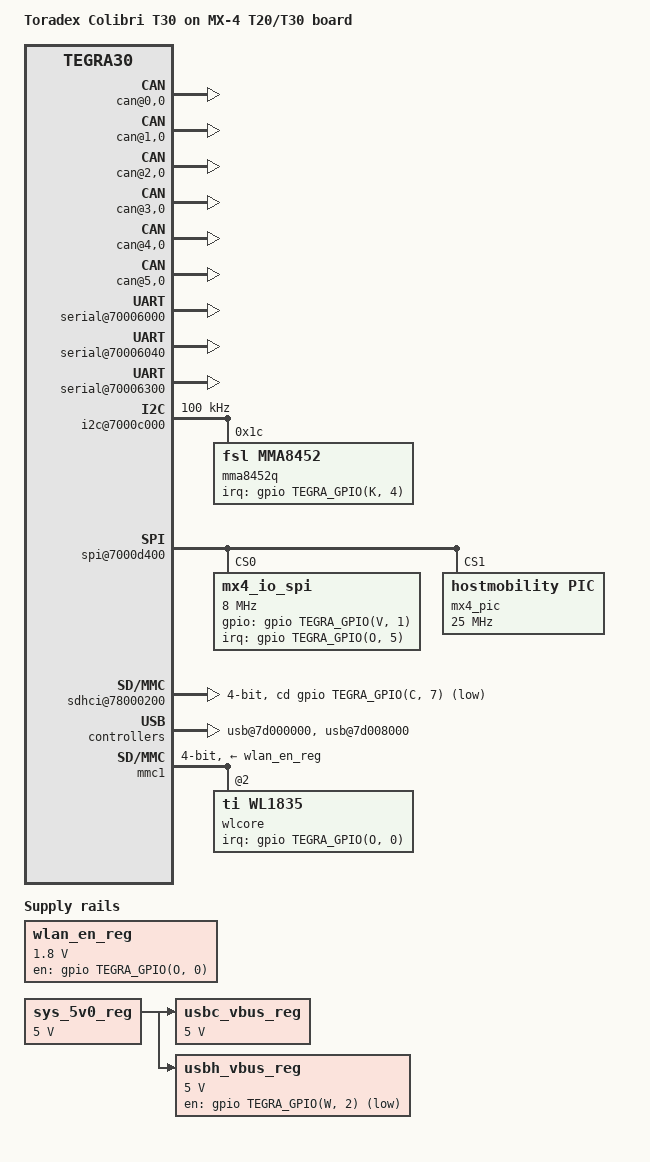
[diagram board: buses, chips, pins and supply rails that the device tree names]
/dts-v1/;

#include "tegra30-colibri.dtsi"

/ {
	model = "Toradex Colibri T30 on MX-4 T20/T30 board";
	compatible = "toradex,colibri_t30-eval-v3", "toradex,colibri_t30", "nvidia,tegra30";

	aliases {
		rtc0 = "/i2c@7000d000/tps65911@2d";
		serial0 = &uarta;
		serial1 = &uartb;
		serial2 = &uartd;
		mmc0 = "/sdhci@78000600"; /* eMMC */
	};

	pinmux@70000868 {
		pinctrl-names = "default";
		pinctrl-0 = <&state_default>;

		state_default: pinmux {
			/* DATA-READY-PIC */
			ulpi_data4_po5 {
				nvidia,pins = "ulpi_data4_po5";
				nvidia,function = "uarta";
				nvidia,pull = <TEGRA_PIN_PULL_DOWN>;
				nvidia,tristate = <TEGRA_PIN_DISABLE>;
				nvidia,enable-input = <TEGRA_PIN_ENABLE>;
			};

			/* ACC-INT1 */
			gmi_cs3_n_pk4 {
				nvidia,pins = "gmi_cs3_n_pk4";
				nvidia,function = "nand";
				nvidia,pull = <TEGRA_PIN_PULL_NONE>;
				nvidia,tristate = <TEGRA_PIN_DISABLE>;
				nvidia,enable-input = <TEGRA_PIN_ENABLE>;
			};

			/* not tri-stating GMI_WR_N on nPWE SODIMM pin 99 */
			sdmmc3_dat4_pd1 {
				nvidia,pins = "sdmmc3_dat4_pd1";
				nvidia,function = "sdmmc3";
				nvidia,pull = <TEGRA_PIN_PULL_DOWN>;
				nvidia,tristate = <TEGRA_PIN_ENABLE>;
				nvidia,enable-input = <TEGRA_PIN_DISABLE>;
			};

			/* not tri-stating GMI_WR_N on RDnWR SODIMM pin 93 */
			sdmmc3_dat5_pd0 {
				nvidia,pins = "sdmmc3_dat5_pd0";
				nvidia,function = "sdmmc3";
				nvidia,pull = <TEGRA_PIN_PULL_DOWN>;
				nvidia,tristate = <TEGRA_PIN_ENABLE>;
				nvidia,enable-input = <TEGRA_PIN_DISABLE>;
			};

			/* CAN-1-INT */
			sdmmc3_dat2_pb5 {
				nvidia,pins = "sdmmc3_dat2_pb5";
				nvidia,function = "sdmmc3";
				nvidia,pull = <TEGRA_PIN_PULL_NONE>;
				nvidia,tristate = <TEGRA_PIN_DISABLE>;
				nvidia,enable-input = <TEGRA_PIN_ENABLE>;
			};

			/* CAN-2-INT */
			sdmmc3_clk_pa6 {
				nvidia,pins = "sdmmc3_clk_pa6";
				nvidia,function = "sdmmc3";
				nvidia,pull = <TEGRA_PIN_PULL_NONE>;
				nvidia,tristate = <TEGRA_PIN_DISABLE>;
				nvidia,enable-input = <TEGRA_PIN_ENABLE>;
			};

			/* CAN-2-INT, CAN-3-INT, CAN-4-INT, CAN-5-INT */
			dap1_fs_pn0 {
				nvidia,pins = "dap1_fs_pn0",
						"dap1_din_pn1",
						"dap1_dout_pn2",
						"dap1_sclk_pn3";
				nvidia,function = "i2s0";
				nvidia,pull = <TEGRA_PIN_PULL_NONE>;
				nvidia,tristate = <TEGRA_PIN_DISABLE>;
				nvidia,enable-input = <TEGRA_PIN_ENABLE>;
			};

			gmi_ad0_pg0 {
				nvidia,pins = "gmi_ad0_pg0",
				    	"gmi_ad1_pg1",
				    	"gmi_ad2_pg2",
				    	"gmi_ad3_pg3",
				    	"gmi_ad4_pg4",
				    	"gmi_ad5_pg5",
				    	"gmi_ad6_pg6",
				    	"gmi_ad7_pg7",
				    	"dap2_fs_pa2",
				    	"dap2_sclk_pa3",
				    	"dap4_sclk_pp7",
				    	"gmi_wr_n_pi0",
				    	"gmi_oe_n_pi1",
				    	"gmi_cs4_n_pk2",
				    	"gmi_adv_n_pk0";
				nvidia,function = "gmi";
				nvidia,pull = <TEGRA_PIN_PULL_NONE>;
				nvidia,tristate = <TEGRA_PIN_DISABLE>;
				nvidia,enable-input = <TEGRA_PIN_ENABLE>;
			};

			/*
			 * THERMD_ALERT#, unlatched I2C address pin of LM95245
			 * temperature sensor therefore requires disabling for
			 * now
			 */
			lcd_dc1_pd2 {
				nvidia,pins = "lcd_dc1_pd2";
				nvidia,function = "rsvd3";
				nvidia,pull = <TEGRA_PIN_PULL_NONE>;
				nvidia,tristate = <TEGRA_PIN_DISABLE>;
				nvidia,enable-input = <TEGRA_PIN_ENABLE>;
			};

			/* Colibri MMC */
			kb_row10_ps2 {
				nvidia,pins = "kb_row10_ps2";
				nvidia,function = "sdmmc2";
				nvidia,pull = <TEGRA_PIN_PULL_NONE>;
				nvidia,tristate = <TEGRA_PIN_DISABLE>;
			};

			kb_row11_ps3 {
				nvidia,pins =	"kb_row11_ps3",
						"kb_row12_ps4",
						"kb_row13_ps5",
						"kb_row14_ps6",
						"kb_row15_ps7";
				nvidia,function = "sdmmc2";
				nvidia,pull = <TEGRA_PIN_PULL_UP>;
				nvidia,tristate = <TEGRA_PIN_DISABLE>;
			};

			/* Colibri SSP */
			ulpi_clk_py0 {
				nvidia,pins =   "ulpi_clk_py0",
						"ulpi_dir_py1",
						"ulpi_nxt_py2",
						"ulpi_stp_py3";
				nvidia,function = "spi1";
				nvidia,pull = <TEGRA_PIN_PULL_NONE>;
				nvidia,tristate = <TEGRA_PIN_DISABLE>;
			};
			sdmmc3_dat6_pd3 {
				nvidia,pins =	"sdmmc3_dat6_pd3",
						"sdmmc3_dat7_pd4";
				nvidia,function = "spdif";
				nvidia,pull = <TEGRA_PIN_PULL_NONE>;
				nvidia,tristate = <TEGRA_PIN_ENABLE>;
			};

			/* Colibri UART_A */
			ulpi_data0 {
				nvidia,pins =   "ulpi_data0_po1",
						"ulpi_data1_po2",
						"ulpi_data2_po3",
						"ulpi_data3_po4",
						"ulpi_data4_po5",
						"ulpi_data5_po6",
						"ulpi_data6_po7";
				nvidia,function = "uarta";
				nvidia,pull = <TEGRA_PIN_PULL_NONE>;
				nvidia,tristate = <TEGRA_PIN_DISABLE>;
			};

			/* Colibri UART_B */
			gmi_a16_pj7 {
				nvidia,pins =   "gmi_a16_pj7",
						"gmi_a17_pb0",
						"gmi_a18_pb1",
						"gmi_a19_pk7";
				nvidia,function = "uartd";
				nvidia,pull = <TEGRA_PIN_PULL_NONE>;
				nvidia,tristate = <TEGRA_PIN_DISABLE>;
			};

			/* Colibri UART_C */
			uart2_rxd {
				nvidia,pins =   "uart2_rxd_pc3",
						"uart2_txd_pc2";
				nvidia,function = "uartb";
				nvidia,pull = <TEGRA_PIN_PULL_NONE>;
				nvidia,tristate = <TEGRA_PIN_DISABLE>;
			};

			/* eMMC */
			sdmmc4_clk_pcc4 {
				nvidia,pins =	"sdmmc4_clk_pcc4",
						"sdmmc4_rst_n_pcc3";
				nvidia,function = "sdmmc4";
				nvidia,pull = <TEGRA_PIN_PULL_NONE>;
				nvidia,tristate = <TEGRA_PIN_DISABLE>;
			};
			sdmmc4_dat0_paa0 {
				nvidia,pins =	"sdmmc4_dat0_paa0",
						"sdmmc4_dat1_paa1",
						"sdmmc4_dat2_paa2",
						"sdmmc4_dat3_paa3",
						"sdmmc4_dat4_paa4",
						"sdmmc4_dat5_paa5",
						"sdmmc4_dat6_paa6",
						"sdmmc4_dat7_paa7";
				nvidia,function = "sdmmc4";
				nvidia,pull = <TEGRA_PIN_PULL_UP>;
				nvidia,tristate = <TEGRA_PIN_DISABLE>;
			};

			mmc1_pins_default: pinmux_mmc1_pins_default {
				sdmmc1_clk_pz0 {
					nvidia,pins = "sdmmc1_clk_pz0";
					nvidia,function = "sdmmc1";
					nvidia,pull = <TEGRA_PIN_PULL_UP>; /*0*/
					nvidia,tristate = <TEGRA_PIN_DISABLE>;
				};
				sdmmc1_cmd_pz1 {
					nvidia,pins = "sdmmc1_cmd_pz1",
							"sdmmc1_dat0_py7",
							"sdmmc1_dat1_py6",
							"sdmmc1_dat2_py5",
							"sdmmc1_dat3_py4";
					nvidia,function = "sdmmc1";
					nvidia,pull = <TEGRA_PIN_PULL_UP>;/*3*/
					nvidia,tristate = <TEGRA_PIN_DISABLE>;
				};
			};

			mmc1_pins_sleep: pinmux_mmc1_pins_sleep {
				sdmmc1_clk_pz0 {
					nvidia,pins = "sdmmc1_clk_pz0";
					nvidia,function = "sdmmc1";
					nvidia,pull = <TEGRA_PIN_PULL_UP>; /*7*/
					nvidia,tristate = <TEGRA_PIN_DISABLE>;
				};
				sdmmc1_cmd_pz1 {
					nvidia,pins = "sdmmc1_cmd_pz1",
							"sdmmc1_dat0_py7",
							"sdmmc1_dat1_py6",
							"sdmmc1_dat2_py5",
							"sdmmc1_dat3_py4";
					nvidia,function = "sdmmc1";
					nvidia,pull = <TEGRA_PIN_PULL_UP>;/*7*/
					nvidia,tristate = <TEGRA_PIN_DISABLE>;
				};
			};

			wlan_pins_default: pinmux_wlan_pins_default {
				/*WLAN EN*/
				ulpi_data7_po0 {
					nvidia,pins =	"ulpi_data7_po0";
					nvidia,function = "sdmmc1";
					nvidia,pull = <TEGRA_PIN_PULL_DOWN>;
					nvidia,tristate = <TEGRA_PIN_DISABLE>;
				};
				/*WLAN IRQ*/
				pex_l2_prsnt_n_pdd7 {
					nvidia,pins =	"pex_l2_prsnt_n_pdd7";
					nvidia,function = "sdmmc1";
					nvidia,pull = <TEGRA_PIN_PULL_NONE>;
					nvidia,tristate = <TEGRA_PIN_DISABLE>;
					nvidia,enable-input = <TEGRA_PIN_ENABLE>;
				};
				/* BT EN, not used */
				pex_l2_rst_n_pcc6 {
					nvidia,pins =	"pex_l2_rst_n_pcc6";
					nvidia,function = "sdmmc1";
					nvidia,pull = <TEGRA_PIN_PULL_UP>;
					nvidia,tristate = <TEGRA_PIN_DISABLE>;
					nvidia,enable-input = <TEGRA_PIN_DISABLE>;
				};
			};

		};
	};

	nor@70009000 {
		status = "okay";
		ranges = <
			0 0 0x48000000 0x00000100
			1 0 0x48040000 0x00000100
			2 0 0x48080000 0x00000100
			3 0 0x480A0000 0x00000100
			4 0 0x480C0000 0x00000100
			5 0 0x480E0000 0x00000100
		>;

		can@0,0 {
			compatible = "nxp,sja1000";
			reg = <0 0 0x100>;
			interrupt-parent = <&gpio>;
			interrupts = <TEGRA_GPIO(B, 5) IRQ_TYPE_EDGE_RISING>;
			nxp,external-clock-frequency = <24000000>;
			nxp,tx-output-config = <0x16>;
			nxp,clock-out-frequency = <24000000>;
			reg-io-width = <2>;
		};


		can@1,0 {
			compatible = "nxp,sja1000";
			reg = <1 0 0x100>;
			interrupt-parent = <&gpio>;
			interrupts = <TEGRA_GPIO(A, 6) IRQ_TYPE_EDGE_RISING>;
			nxp,external-clock-frequency = <24000000>;
			nxp,tx-output-config = <0x16>;
			reg-io-width = <2>;
		};


		can@2,0 {
			compatible = "nxp,sja1000";
			reg = <2 0 0x100>;
			interrupt-parent = <&gpio>;
			interrupts = <TEGRA_GPIO(N, 0) IRQ_TYPE_EDGE_RISING>;
			nxp,external-clock-frequency = <24000000>;
			nxp,tx-output-config = <0x16>;
			reg-io-width = <2>;
		};


		can@3,0 {
			compatible = "nxp,sja1000";
			reg = <3 0 0x100>;
			interrupt-parent = <&gpio>;
			interrupts = <TEGRA_GPIO(N, 1) IRQ_TYPE_EDGE_RISING>;
			nxp,external-clock-frequency = <24000000>;
			nxp,tx-output-config = <0x16>;
			reg-io-width = <2>;
		};


		can@4,0 {
			compatible = "nxp,sja1000";
			reg = <4 0 0x100>;
			interrupt-parent = <&gpio>;
			interrupts = <TEGRA_GPIO(N, 2) IRQ_TYPE_EDGE_RISING>;
			nxp,external-clock-frequency = <24000000>;
			nxp,tx-output-config = <0x16>;
			reg-io-width = <2>;
		};


		can@5,0 {
			compatible = "nxp,sja1000";
			reg = <5 0 0x100>;
			interrupt-parent = <&gpio>;
			interrupts = <TEGRA_GPIO(N, 3) IRQ_TYPE_EDGE_RISING>;
			nxp,external-clock-frequency = <24000000>;
			nxp,tx-output-config = <0x16>;
			reg-io-width = <2>;
		};
	};

	serial@70006000 {
		status = "okay";
	};

	serial@70006040 {
		compatible = "nvidia,tegra30-hsuart";
		status = "okay";
	};

	serial@70006300 {
		compatible = "nvidia,tegra30-hsuart";
		status = "okay";
	};

		/*
	 * GEN1_I2C: I2C_SDA/SCL on SODIMM pin 194/196 (e.g. RTC on carrier
	 * board)
	 */
	i2c@7000c000 {
		status = "okay";
		clock-frequency = <100000>;

		/* Freescale MMA8452Q */
	    mma8452q@1c {
	    	compatible = "fsl,mma8452";
	    	reg = <0x1c>;
	        interrupt-parent = <&gpio>;
	        interrupts = <TEGRA_GPIO(K, 4) GPIO_ACTIVE_LOW>;
	    };
	};

	/* SPI1: Colibri SSP */
	spi@7000d400 {
		status = "okay";
		spi-max-frequency = <25000000>;

		mx4_io_spi: spi@0 {
	       	compatible = "mx4_io_spi";
	       	reg = <0>;
	       	spi-max-frequency = <8000000>;
			interrupt-parent = <&gpio>;
	       	interrupts = <TEGRA_GPIO(O, 5) GPIO_ACTIVE_HIGH>;
	       	gpios = <&gpio TEGRA_GPIO(V, 1) GPIO_ACTIVE_HIGH>;
	       	spi-cpha;
   		};

   	    mx4_pic: spi@1 {
        	compatible = "hostmobility,pic";
        	reg = <1>;
        	spi-max-frequency = <25000000>;
    	};
	};

	sdhci@78000200 {
		status = "okay";
		bus-width = <4>;
		cd-gpios = <&gpio TEGRA_GPIO(C, 7) GPIO_ACTIVE_LOW>;
		no-1-8-v;
	};

	/* EHCI instance 0: USB1_DP/N -> USBC_P/N */
	usb@7d000000 {
		status = "okay";
	};

	usb-phy@7d000000 {
		status = "okay";
		dr_mode = "otg";
		vbus-supply = <&usbc_vbus_reg>;
	};

	/* EHCI instance 2: USB3_DP/N -> USBH_P/N */
	usb@7d008000 {
		status = "okay";
	};

	usb-phy@7d008000 {
		status = "okay";
		vbus-supply = <&usbh_vbus_reg>;
	};

	wlan_en_reg: fixedregulator@2 {
		compatible = "regulator-fixed";
		regulator-name = "wlan-en-regulator";
		regulator-min-microvolt = <1800000>;
		regulator-max-microvolt = <1800000>;
		startup-delay-us = <70000>;

		/* WLAN_EN GPIO for this board - Tegra BankO, pin0 */
		gpio = <&gpio TEGRA_GPIO(O, 0) GPIO_ACTIVE_HIGH>;
		enable-active-high;
	};

	regulators {
		sys_5v0_reg: regulator@1 {
			compatible = "regulator-fixed";
			reg = <1>;
			regulator-name = "5v0";
			regulator-min-microvolt = <5000000>;
			regulator-max-microvolt = <5000000>;
			regulator-always-on;
		};

		usbc_vbus_reg: regulator@2 {
			compatible = "regulator-fixed";
			reg = <2>;
			regulator-name = "usbc_vbus";
			regulator-min-microvolt = <5000000>;
			regulator-max-microvolt = <5000000>;
			vin-supply = <&sys_5v0_reg>;
		};

		/* USBH_PEN */
		usbh_vbus_reg: regulator@3 {
			compatible = "regulator-fixed";
			reg = <3>;
			regulator-name = "usbh_vbus";
			regulator-min-microvolt = <5000000>;
			regulator-max-microvolt = <5000000>;
			gpio = <&gpio TEGRA_GPIO(W, 2) GPIO_ACTIVE_LOW>;
			vin-supply = <&sys_5v0_reg>;
		};
	};

	mmc1 {
		status = "okay";
		vmmc-supply = <&wlan_en_reg>;
		bus-width = <4>;
		pinctrl-names = "default", "sleep";
		pinctrl-0 = <&mmc1_pins_default &wlan_pins_default>;
		ti,non-removable;
		ti,needs-special-hs-handling;
		cap-power-off-card;
		keep-power-in-suspend;

		#address-cells = <1>;
		#size-cells = <0>;
		wlcore: wlcore@0 {
			compatible = "ti,wl1835";
			reg = <2>;
			interrupt-parent = <&gpio>;
			interrupts = <TEGRA_GPIO(O, 0) IRQ_TYPE_EDGE_RISING>;
		};
	};
};
